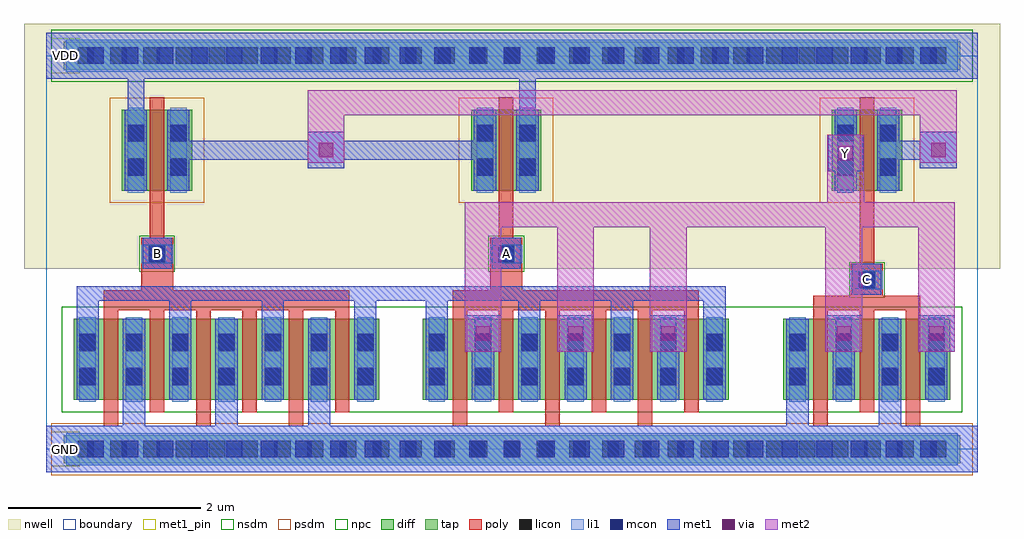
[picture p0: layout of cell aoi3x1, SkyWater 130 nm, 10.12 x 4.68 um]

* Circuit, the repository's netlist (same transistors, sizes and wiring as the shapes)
** sch_path: /foss/designs/aoi3x1.sch
.subckt aoi3x1 VDD GND A B C Y
*.PININFO VDD:B GND:B A:I B:I C:I Y:O
XM2 net2 A VDD VDD sky130_fd_pr__pfet_01v8 L=0.15 W=0.84 nf=1
XM3 net2 B VDD VDD sky130_fd_pr__pfet_01v8 L=0.15 W=0.84 nf=1
XM4 Y A net1 GND sky130_fd_pr__nfet_01v8 L=0.15 W=5.04 nf=6
XM5 Y C GND GND sky130_fd_pr__nfet_01v8 L=0.15 W=2.52 nf=3
XM1 Y C net2 VDD sky130_fd_pr__pfet_01v8 L=0.15 W=0.84 nf=1
XM6 net1 B GND GND sky130_fd_pr__nfet_01v8 L=0.15 W=5.04 nf=6
.ends

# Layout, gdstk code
import gdstk
lib = gdstk.Library(unit=1e-6, precision=1e-09)
def R(c, l, rs):  # rectangles x0, y0, x1, y1
    for r in rs: c.add(gdstk.rectangle(r[:2], r[2:], *l))
def A(c, l, x, y, w, h, nx, ny, dx, dy):  # array of equal rectangles
    R(c, l, [(x+i*dx, y+j*dy, x+i*dx+w, y+j*dy+h) for i in range(nx) for j in range(ny)])
nwell = (64, 20)
diff = (65, 20)
tap = (65, 44)
poly = (66, 20)
licon = (66, 44)
li1 = (67, 20)
mcon = (67, 44)
met1_pin = (68, 16)
met1 = (68, 20)
via = (68, 44)
met2 = (69, 20)
nsdm = (93, 44)
psdm = (94, 20)
npc = (95, 20)
boundary = (235, 4)

sky130_fd_pr__pfet_01v8_ = lib.new_cell('sky130_fd_pr__pfet_01v8_W5J8BK')
R(sky130_fd_pr__pfet_01v8_, nwell, [(-0.545,-0.73,0.545,0.73)])
R(sky130_fd_pr__pfet_01v8_, diff, [(-0.365,-0.42,0.365,0.42)])
R(sky130_fd_pr__pfet_01v8_, poly, [(-0.075,-0.55,0.075,0.55)])
R(sky130_fd_pr__pfet_01v8_, licon, [(-0.305,-0.255,-0.135,-0.085), (0.135,-0.255,0.305,-0.085), (-0.305,0.085,-0.135,0.255), (0.135,0.085,0.305,0.255)])
R(sky130_fd_pr__pfet_01v8_, li1, [(-0.305,-0.44,-0.135,0.44), (0.135,-0.44,0.305,0.44)])
R(sky130_fd_pr__pfet_01v8_, mcon, [(-0.305,-0.265,-0.135,-0.095), (0.135,-0.265,0.305,-0.095), (-0.305,0.095,-0.135,0.265), (0.135,0.095,0.305,0.265)])
R(sky130_fd_pr__pfet_01v8_, met1, [(-0.335,-0.42,-0.105,0.42), (0.105,-0.42,0.335,0.42)])
R(sky130_fd_pr__pfet_01v8_, psdm, [(-0.49,-0.545,0.49,0.545)])
sky130_fd_pr__pfet_01v8_.add(gdstk.Label('D', (-0.22,0), layer=67, texttype=5))
sky130_fd_pr__pfet_01v8_.add(gdstk.Label('S', (0.22,0), layer=67, texttype=5))

sky130_fd_pr__nfet_01v8_ = lib.new_cell('sky130_fd_pr__nfet_01v8_RPKUUV')
R(sky130_fd_pr__nfet_01v8_, diff, [(-0.865,-0.42,0.865,0.42)])
R(sky130_fd_pr__nfet_01v8_, poly, [(-0.555,-0.695,-0.405,0.55), (0.405,-0.695,0.555,0.55), (-0.075,-0.55,0.075,0.695)])
A(sky130_fd_pr__nfet_01v8_, licon, -0.805, -0.255, 0.17, 0.17, 4, 2, 0.48, 0.34)
A(sky130_fd_pr__nfet_01v8_, li1, -0.805, -0.44, 0.17, 0.88, 4, 1, 0.48, 0)
A(sky130_fd_pr__nfet_01v8_, mcon, -0.805, -0.265, 0.17, 0.17, 4, 2, 0.48, 0.36)
A(sky130_fd_pr__nfet_01v8_, met1, -0.835, -0.42, 0.23, 0.84, 4, 1, 0.48, 0)
R(sky130_fd_pr__nfet_01v8_, nsdm, [(-0.99,-0.545,0.99,0.545)])
sky130_fd_pr__nfet_01v8_.add(gdstk.Label('D0', (-0.72,0), layer=67, texttype=5))
sky130_fd_pr__nfet_01v8_.add(gdstk.Label('S1', (-0.24,0), layer=67, texttype=5))
sky130_fd_pr__nfet_01v8_.add(gdstk.Label('D2', (0.24,0), layer=67, texttype=5))
sky130_fd_pr__nfet_01v8_.add(gdstk.Label('S2', (0.72,0), layer=67, texttype=5))

c_sky130_fd_pr__nfet_01v8_ = lib.new_cell('sky130_fd_pr__nfet_01v8_6WXBLA')
R(c_sky130_fd_pr__nfet_01v8_, diff, [(-1.585,-0.42,1.585,0.42)])
A(c_sky130_fd_pr__nfet_01v8_, poly, -1.275, -0.695, 0.15, 1.245, 3, 1, 0.96, 0)
A(c_sky130_fd_pr__nfet_01v8_, poly, -0.795, -0.55, 0.15, 1.245, 3, 1, 0.96, 0)
A(c_sky130_fd_pr__nfet_01v8_, licon, -1.525, -0.255, 0.17, 0.17, 7, 2, 0.48, 0.34)
A(c_sky130_fd_pr__nfet_01v8_, li1, -1.525, -0.44, 0.17, 0.88, 7, 1, 0.48, 0)
A(c_sky130_fd_pr__nfet_01v8_, mcon, -1.525, -0.265, 0.17, 0.17, 7, 2, 0.48, 0.36)
A(c_sky130_fd_pr__nfet_01v8_, met1, -1.555, -0.42, 0.23, 0.84, 7, 1, 0.48, 0)
R(c_sky130_fd_pr__nfet_01v8_, nsdm, [(-1.71,-0.545,1.71,0.545)])
c_sky130_fd_pr__nfet_01v8_.add(gdstk.Label('D0', (-1.44,0), layer=67, texttype=5))
c_sky130_fd_pr__nfet_01v8_.add(gdstk.Label('S1', (-0.96,0), layer=67, texttype=5))
c_sky130_fd_pr__nfet_01v8_.add(gdstk.Label('D2', (-0.48,0), layer=67, texttype=5))
c_sky130_fd_pr__nfet_01v8_.add(gdstk.Label('S3', (0,0), layer=67, texttype=5))
c_sky130_fd_pr__nfet_01v8_.add(gdstk.Label('D4', (0.48,0), layer=67, texttype=5))
c_sky130_fd_pr__nfet_01v8_.add(gdstk.Label('S5', (0.96,0), layer=67, texttype=5))

aoi3x1 = lib.new_cell('aoi3x1')
R(aoi3x1, nwell, [(-0.23,1.87,9.89,4.41)])
R(aoi3x1, tap, [(0.18,-0.145,9.48,0.145), (0.18,3.935,9.48,4.225)])
R(aoi3x1, poly, [(0.595,1.44,3.145,1.65), (4.215,1.44,6.765,1.65), (7.955,1.44,9.065,1.59), (8.345,1.59,8.675,1.92), (0.985,1.65,1.315,2.19), (4.605,1.65,4.935,2.19), (8.435,1.92,8.585,2.8), (1.075,2.19,1.225,2.8), (4.695,2.19,4.845,2.8)])
A(aoi3x1, licon, 0.325, -0.085, 0.17, 0.17, 27, 2, 0.34, 4.08)
R(aoi3x1, licon, [(8.425,1.67,8.595,1.84), (1.065,1.94,1.235,2.11), (4.685,1.94,4.855,2.11)])
R(aoi3x1, li1, [(0.21,-0.165,9.45,0.165), (8.345,1.66,8.675,1.85), (0.985,1.93,1.315,2.12), (4.605,1.93,4.935,2.12), (0.21,3.915,9.45,4.245)])
A(aoi3x1, mcon, 0.425, -0.085, 0.17, 0.17, 25, 2, 0.36, 4.08)
R(aoi3x1, mcon, [(8.425,1.67,8.595,1.84), (1.065,1.94,1.235,2.11), (4.685,1.94,4.855,2.11)])
R(aoi3x1, met1_pin, [(0.05,-0.18,0.35,0.18), (8.36,1.6,8.66,1.92), (1,1.87,1.3,2.19), (4.62,1.87,4.92,2.19), (8.11,2.88,8.47,3.26), (0.05,3.9,0.35,4.26)])
A(aoi3x1, met1, 0.795, 0.24, 0.23, 0.36, 3, 1, 0.96, 0)
A(aoi3x1, met1, 4.34, 1.01, 0.38, 0.38, 3, 1, 0.96, 0)
A(aoi3x1, met1, 0.315, 1.25, 0.23, 0.29, 4, 1, 0.96, 0)
A(aoi3x1, met1, 3.935, 1.25, 0.23, 0.29, 4, 1, 0.96, 0)
R(aoi3x1, met1, [(0,-0.24,9.66,0.24), (7.675,0.24,7.905,0.6), (8.635,0.24,8.865,0.6), (8.08,1.01,8.46,1.39), (9.04,1.01,9.42,1.39), (0.315,1.54,7.045,1.69), (8.36,1.6,8.66,1.92), (1,1.87,1.3,2.19), (4.62,1.87,4.92,2.19), (8.11,2.88,8.47,3.26), (2.71,2.91,3.09,3), (9.06,2.91,9.44,3), (1.255,3,4.665,3.2), (8.615,3,9.44,3.2), (2.71,3.2,3.09,3.29), (9.06,3.2,9.44,3.29), (0.845,3.4,1.015,3.84), (4.905,3.4,5.075,3.84), (0,3.84,9.66,4.32)])
A(aoi3x1, via, 4.455, 1.125, 0.15, 0.15, 3, 1, 0.96, 0)
R(aoi3x1, via, [(8.195,1.125,8.345,1.275), (9.155,1.125,9.305,1.275), (8.215,2.995,8.365,3.145), (2.825,3.025,2.975,3.175), (9.175,3.025,9.325,3.175)])
A(aoi3x1, met2, 4.34, 1.01, 0.38, 1.29, 3, 1, 0.96, 0)
R(aoi3x1, met2, [(8.08,1.01,8.46,2.3), (9.04,1.01,9.42,2.3), (4.34,2.3,9.42,2.56), (8.1,2.56,8.48,3.26), (2.71,2.97,3.09,3.46), (9.06,2.97,9.44,3.46), (2.71,3.46,9.44,3.72)])
R(aoi3x1, nsdm, [(3.58,0.385,3.78,1.475), (7.2,0.385,7.52,1.475), (0.055,3.81,9.605,4.35)])
R(aoi3x1, psdm, [(0.055,-0.27,9.605,0.27)])
R(aoi3x1, npc, [(8.325,1.57,8.695,1.94), (0.965,1.84,1.335,2.21), (4.585,1.84,4.955,2.21)])
R(aoi3x1, boundary, [(0,0,9.66,4.08)])
aoi3x1.add(gdstk.Reference(sky130_fd_pr__pfet_01v8_, (8.51,3.1)))
aoi3x1.add(gdstk.Reference(sky130_fd_pr__nfet_01v8_, (8.51,0.93)))
aoi3x1.add(gdstk.Reference(sky130_fd_pr__pfet_01v8_, (4.77,3.1)))
aoi3x1.add(gdstk.Reference(c_sky130_fd_pr__nfet_01v8_, (5.49,0.93)))
aoi3x1.add(gdstk.Reference(sky130_fd_pr__pfet_01v8_, (1.15,3.1)))
aoi3x1.add(gdstk.Reference(c_sky130_fd_pr__nfet_01v8_, (1.87,0.93)))
aoi3x1.add(gdstk.Label('B', (1.15,2.03), layer=68, texttype=5))
aoi3x1.add(gdstk.Label('A', (4.77,2.03), layer=68, texttype=5))
aoi3x1.add(gdstk.Label('C', (8.51,1.76), layer=68, texttype=5))
aoi3x1.add(gdstk.Label('Y', (8.29,3.07), layer=68, texttype=5))
aoi3x1.add(gdstk.Label('VDD', (0.2,4.08), layer=68, texttype=5))
aoi3x1.add(gdstk.Label('GND', (0.2,0), layer=68, texttype=5))

lib.write_gds('aoi3x1.gds')
